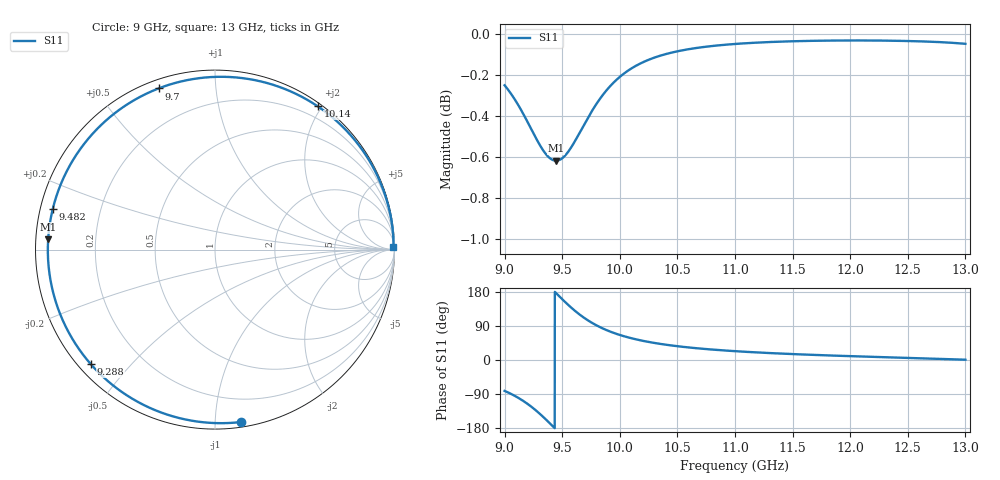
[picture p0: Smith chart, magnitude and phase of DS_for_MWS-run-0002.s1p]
! TOUCHSTONE file generated by CST DESIGN STUDIO
! Date and time: Tue Feb  4 12:45:41 2025
! Project name: C:\Work\MatlabApps\UnitCellOptimizationMatlab\CST\unitcell.cst
! Tree item: Tasks\Sweep1\SPara1\S-Parameters
! Header version: 2024
! Port assignment regex: !\s*Touchstone port\s*([0-9]+)\s*=\s*(CST MWS port|CST DES external port|CST DES block port)\s*(.+)\s* \(\"(.*)\"\)(\s*mode\s*([0-9]+))?.*
! Touchstone port assignment:
! Touchstone port 1 = CST DES external port 1 ("")
# GHz S MA R 50
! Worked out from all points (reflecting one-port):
!   4001 points, 9 GHz to 13 GHz, reference 50 ohm
!   lowest |S11| = -0.6 dB at 9.447 GHz (marker M1), VSWR 28.12, Z = 1.78 + j1.57 ohm
!   phase of S11 starts at -82 deg and turns -278 deg over the sweep
!   S11 on the Smith chart (normalised r, x): 9 GHz: 0.03, -1.16; 9.288 GHz: 0.03, -0.39; 9.482 GHz: 0.04, +0.12; 9.7 GHz: 0.04, +0.71; 10.14 GHz: 0.04, +1.95; 13 GHz: open
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9  0.9715 -81.5
9.089  0.9637 -94.7
9.161  0.9562 -107.8
9.226  0.9486 -121.9
9.288  0.9414 -137.3
9.333  0.9369 -149.6
9.373  0.9337 -161.2
9.41  0.9319 -172.3
9.447  0.9313 176.4
9.482  0.9319 165.8
9.5  0.9326 160.4
9.552  0.936 145.4
9.6  0.9405 132.5
9.649  0.9457 120.5
9.7  0.9514 109.3
9.758  0.9576 98.1
9.823  0.9637 87.5
9.909  0.9705 75.9
10  0.976 66.1
10.143  0.9822 54.3
10.304  0.9867 44.8
10.5  0.9901 36.4
10.723  0.9925 29.5
11  0.9942 23.3
11.5  0.9957 15.6
12  0.9961 10.2
12.5  0.9958 5.6
13  0.9943 0.8
